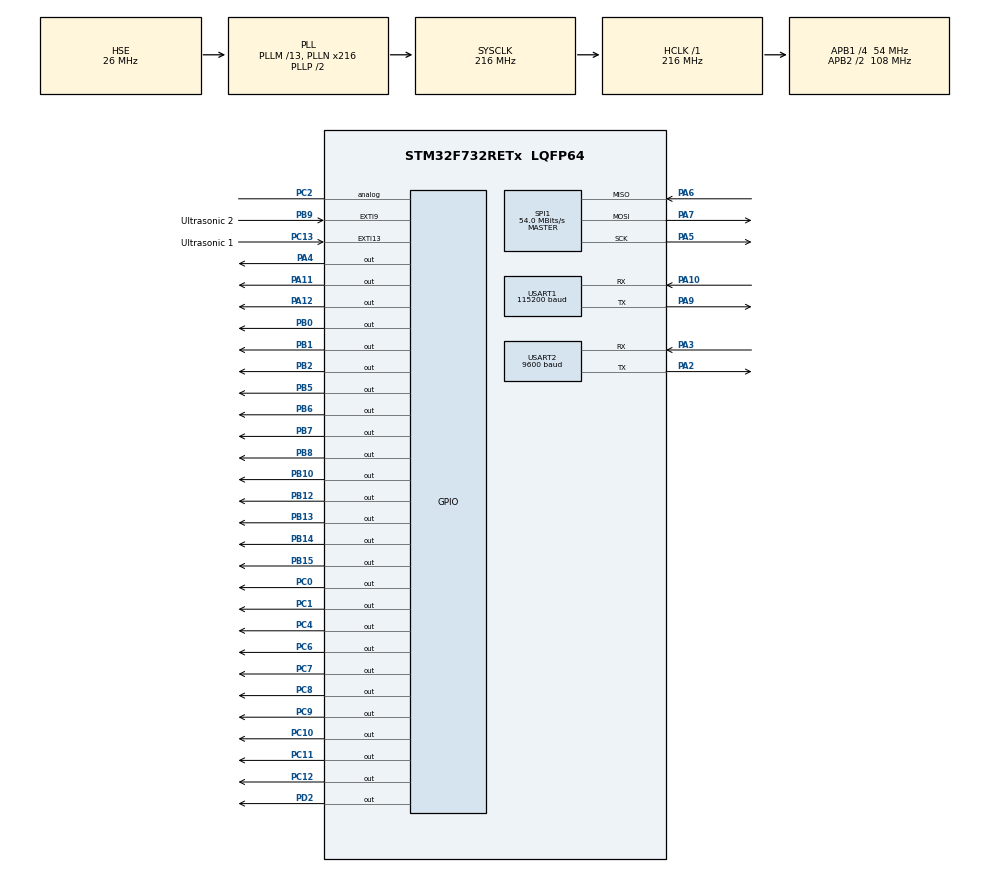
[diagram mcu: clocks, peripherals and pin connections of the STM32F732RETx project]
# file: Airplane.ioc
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Dma.Request0=USART1_RX
Dma.Request1=USART2_RX
Dma.USART1_RX.0.Direction=DMA_PERIPH_TO_MEMORY
Dma.USART1_RX.0.FIFOMode=DMA_FIFOMODE_DISABLE
Dma.USART1_RX.0.Instance=DMA2_Stream2
Dma.USART1_RX.0.MemDataAlignment=DMA_MDATAALIGN_BYTE
Dma.USART1_RX.0.MemInc=DMA_MINC_ENABLE
Dma.USART1_RX.0.Mode=DMA_CIRCULAR
Dma.USART1_RX.0.PeriphDataAlignment=DMA_PDATAALIGN_BYTE
Dma.USART1_RX.0.PeriphInc=DMA_PINC_DISABLE
Dma.USART1_RX.0.Priority=DMA_PRIORITY_LOW
Dma.USART2_RX.1.Direction=DMA_PERIPH_TO_MEMORY
Dma.USART2_RX.1.FIFOMode=DMA_FIFOMODE_DISABLE
Dma.USART2_RX.1.Instance=DMA1_Stream5
Dma.USART2_RX.1.MemDataAlignment=DMA_MDATAALIGN_BYTE
Dma.USART2_RX.1.MemInc=DMA_MINC_ENABLE
Dma.USART2_RX.1.Mode=DMA_CIRCULAR
Dma.USART2_RX.1.PeriphDataAlignment=DMA_PDATAALIGN_BYTE
Dma.USART2_RX.1.PeriphInc=DMA_PINC_DISABLE
Dma.USART2_RX.1.Priority=DMA_PRIORITY_LOW
Mcu.Family=STM32F7
Mcu.Name=STM32F732RETx
Mcu.Package=LQFP64
NVIC.DMA1_Stream5_IRQn=true\:0\:0\:false\:false\:true\:false\:true
NVIC.DMA2_Stream2_IRQn=true\:0\:0\:false\:false\:true\:false\:true
NVIC.EXTI15_10_IRQn=true\:0\:0\:false\:false\:true\:true\:true
NVIC.EXTI9_5_IRQn=true\:0\:0\:false\:false\:true\:true\:true
NVIC.PriorityGroup=NVIC_PRIORITYGROUP_4
NVIC.TIM2_IRQn=true\:0\:0\:false\:false\:true\:true\:true
NVIC.USART1_IRQn=true\:0\:0\:false\:false\:true\:true\:true
NVIC.USART2_IRQn=true\:0\:0\:false\:false\:true\:true\:true
PA10.Mode=Asynchronous
PA10.Signal=USART1_RX
PA11.Signal=GPIO_Output
PA12.Signal=GPIO_Output
PA13.Mode=JTAG_5_pins
PA13.Signal=SYS_JTMS-SWDIO
PA14.Mode=JTAG_5_pins
PA14.Signal=SYS_JTCK-SWCLK
PA15.Mode=JTAG_5_pins
PA15.Signal=SYS_JTDI
PA2.Mode=Asynchronous
PA2.Signal=USART2_TX
PA3.Mode=Asynchronous
PA3.Signal=USART2_RX
PA4.Signal=GPIO_Output
PA5.Mode=Full_Duplex_Master
PA5.Signal=SPI1_SCK
PA6.Mode=Full_Duplex_Master
PA6.Signal=SPI1_MISO
PA7.Mode=Full_Duplex_Master
PA7.Signal=SPI1_MOSI
PA9.Mode=Asynchronous
PA9.Signal=USART1_TX
PB0.Signal=GPIO_Output
PB1.Signal=GPIO_Output
PB10.Signal=GPIO_Output
PB12.Signal=GPIO_Output
PB13.Signal=GPIO_Output
PB14.Signal=GPIO_Output
PB15.Signal=GPIO_Output
PB2.Signal=GPIO_Output
PB3.Mode=JTAG_5_pins
PB3.Signal=SYS_JTDO-SWO
PB4.Mode=JTAG_5_pins
PB4.Signal=SYS_JTRST
PB5.Signal=GPIO_Output
PB6.Signal=GPIO_Output
PB7.Signal=GPIO_Output
PB8.Signal=GPIO_Output
PB9.GPIO_Label=Ultrasonic 2
PB9.GPIO_ModeDefaultEXTI=GPIO_MODE_IT_RISING_FALLING
PB9.GPIO_PuPd=GPIO_NOPULL
PB9.Signal=GPXTI9
PC0.Signal=GPIO_Output
PC1.Signal=GPIO_Output
PC10.Signal=GPIO_Output
PC11.Signal=GPIO_Output
PC12.Signal=GPIO_Output
PC13.GPIO_Label=Ultrasonic 1
PC13.GPIO_ModeDefaultEXTI=GPIO_MODE_IT_RISING_FALLING
PC13.Signal=GPXTI13
PC2.Signal=GPIO_Analog
PC4.Signal=GPIO_Output
PC6.Signal=GPIO_Output
PC7.Signal=GPIO_Output
PC8.Signal=GPIO_Output
PC9.Signal=GPIO_Output
PD2.Signal=GPIO_Output
PH0-OSC_IN.Mode=HSE-External-Oscillator
PH0-OSC_IN.Signal=RCC_OSC_IN
PH1-OSC_OUT.Mode=HSE-External-Oscillator
PH1-OSC_OUT.Signal=RCC_OSC_OUT
ProjectManager.HeapSize=0x200
ProjectManager.StackSize=0x400
ProjectManager.TargetToolchain=STM32CubeIDE
RCC.AHBFreq_Value=216000000
RCC.APB1CLKDivider=RCC_HCLK_DIV4
RCC.APB1Freq_Value=54000000
RCC.APB1TimFreq_Value=108000000
RCC.APB2CLKDivider=RCC_HCLK_DIV2
RCC.APB2Freq_Value=108000000
RCC.APB2TimFreq_Value=216000000
RCC.CortexFreq_Value=216000000
RCC.HCLKFreq_Value=216000000
RCC.HSE_VALUE=26000000
RCC.HSI_VALUE=16000000
RCC.LSE_VALUE=32768
RCC.PLLM=13
RCC.PLLN=216
RCC.PLLSourceVirtual=RCC_PLLSOURCE_HSE
RCC.SYSCLKFreq_VALUE=216000000
RCC.SYSCLKSource=RCC_SYSCLKSOURCE_PLLCLK
RCC.USBFreq_Value=216000000
RCC.VCOOutputFreq_Value=432000000
SPI1.CalculateBaudRate=54.0 MBits/s
SPI1.Direction=SPI_DIRECTION_2LINES
SPI1.Mode=SPI_MODE_MASTER
SPI1.VirtualType=VM_MASTER
TIM2.Prescaler=108
USART1.BaudRate=115200
USART1.VirtualMode-Asynchronous=VM_ASYNC
USART1.VirtualMode-Synchronous=VM_SYNC
USART2.BaudRate=9600
USART2.VirtualMode-Asynchronous=VM_ASYNC
VP_TIM2_VS_ClockSourceINT.Mode=Internal
VP_TIM9_VS_ClockSourceINT.Mode=Internal
board=custom

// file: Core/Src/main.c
/* USER CODE BEGIN Header */
/**
  ******************************************************************************
  * @file           : main.c
  * @brief          : Main program body
  ******************************************************************************
  * @attention
  *
  * <h2><center>&copy; Copyright (c) 2020 STMicroelectronics.
  * All rights reserved.</center></h2>
  *
  * This software component is licensed by ST under BSD 3-Clause license,
  * the "License"; You may not use this file except in compliance with the
  * License. You may obtain a copy of the License at:
  *                        opensource.org/licenses/BSD-3-Clause
  *
  ******************************************************************************
  */
/* USER CODE END Header */
#include "main.h"
#include "dma.h"
#include "spi.h"
#include "tim.h"
#include "usart.h"
#include "gpio.h"

/* USER CODE BEGIN Includes */
#include <stdio.h>
#include <math.h>
/* USER CODE END Includes */

/* USER CODE BEGIN PTD */
#define LED_G 6
#define LED_R 7
/* USER CODE END PTD */

/* USER CODE BEGIN PD */
typedef struct{
  long port;
  uint16_t pin;
  uint32_t minPulse_ut, maxPulse_ut, period_ut;
  uint32_t pulseBegin_ut;
  _Bool high;
} pwm_pin;

typedef struct{
  pwm_pin trigger;
  int32_t timeBegin;
  _Bool on;
  double distance_cm;
} ultrasonic_sensor;

//trigger sensor every 60 ms
ultrasonic_sensor sensor = {{GPIOC, GPIO_PIN_1, 0, 10, 60000}};
/* USER CODE END PD */

/* USER CODE BEGIN PV */

unsigned char dataReceivedUART[2] = {128, 128};

/* USER CODE END PV */

void SystemClock_Config(void);

int main(void)
{
  /* USER CODE BEGIN 1 */
  long lastTick_t;

  pwm_pin forward = {GPIOB, GPIO_PIN_7, 0, 1000, 1000};
  pwm_pin reverse = {GPIOB, GPIO_PIN_6, 0, 1000, 1000};
  pwm_pin steering = {GPIOC, GPIO_PIN_6, 1000, 2000, 6000};
  pwm_pin steering2 = {GPIOC, GPIO_PIN_7, 1000, 2000, 15000};

  double magAngle = 0.0;
  double targetAngle = 0.0;
  const double MAX_ANGLE_CHANGE_PER_SECOND = 60.0;
  const double MAX_STEERING_ANGLE = 90.0;

  const double MIN_SENSOR_DIST_CM = 20.0;
  /* USER CODE END 1 */

  /* MCU Configuration--------------------------------------------------------*/

  /* Reset of all peripherals, Initializes the Flash interface and the Systick. */
  HAL_Init();

  /* Configure the system clock */
  SystemClock_Config();

  /* Initialize all configured peripherals */
  MX_GPIO_Init();
  MX_DMA_Init();
  MX_TIM9_Init();
  MX_SPI1_Init();
  MX_USART1_UART_Init();
  MX_USART2_UART_Init();
  MX_TIM2_Init();
  /* USER CODE BEGIN 2 */
  HAL_Delay(1000);
  HAL_TIM_Base_Start_IT(&htim2);
  HAL_UART_Receive_DMA (&huart1, dataReceivedUART, 2);
  HAL_GPIO_WritePin(GPIOA, GPIO_PIN_12, 1);
  HAL_GPIO_WritePin(GPIOB, GPIO_PIN_8, 1);
  /* USER CODE END 2 */

  /* Infinite loop */
  /* USER CODE BEGIN WHILE */
  while (1)
  {
    //get elapsed time
    const double timeDelta = __HAL_TIM_GET_COUNTER(&htim2) - lastTick_t;
    lastTick_t = __HAL_TIM_GET_COUNTER(&htim2);

    //steering
    targetAngle += (dataReceivedUART[1]-128.0)/128.0*timeDelta*MAX_ANGLE_CHANGE_PER_SECOND/1000000.0;

    //keep target angle between 0 and 360 degrees (inclusive)
    if(targetAngle > 360.0)
      targetAngle = 0.0;
    else if(targetAngle < 0.0)
      targetAngle = 360.0;

    //get angle to target and closest direction to it
    _Bool right = 0;
    double angleDiff = fabs(targetAngle - magAngle);
    if(angleDiff > 180.0){
      angleDiff = 360.0 - angleDiff;
      right = 1;
    }

    //transition steering smoothly toward target angle
    const double dutyCycleOffset = fmin(angleDiff/MAX_STEERING_ANGLE/2.0, 0.5);
    PWM(&steering, right ? 0.5 + dutyCycleOffset : 0.5 - dutyCycleOffset);

    //pulse ultrasonic sensor
    PWM_Full_Duty(&sensor.trigger);

    //motor control
    unsigned char speed = dataReceivedUART[0];

    //reverse if closer than min dist
    // if(sensor.distance_cm <= MIN_SENSOR_DIST_CM)
    //   speed = 1;

    if(speed > 128.0){
      //forward
      HAL_GPIO_WritePin(reverse.port, reverse.pin, 0);
      PWM(&forward, (speed-128.0)/128.0);

    }else if(speed < 128.0){
      //reverse
      HAL_GPIO_WritePin(forward.port, forward.pin, 0);
      PWM(&reverse, 1.0 - speed/128.0);

    }else{
      //stationary
      HAL_GPIO_WritePin(reverse.port, reverse.pin, 0);
      HAL_GPIO_WritePin(forward.port, forward.pin, 0);
    }
  }
}
    /* USER CODE END WHILE */

void SystemClock_Config(void)
{
  RCC_OscInitTypeDef RCC_OscInitStruct = {0};
  RCC_ClkInitTypeDef RCC_ClkInitStruct = {0};
  RCC_PeriphCLKInitTypeDef PeriphClkInitStruct = {0};

  /** Configure the main internal regulator output voltage
  */
  __HAL_RCC_PWR_CLK_ENABLE();
  __HAL_PWR_VOLTAGESCALING_CONFIG(PWR_REGULATOR_VOLTAGE_SCALE1);
  /** Initializes the RCC Oscillators according to the specified parameters
  * in the RCC_OscInitTypeDef structure.
  */
  RCC_OscInitStruct.OscillatorType = RCC_OSCILLATORTYPE_HSE;
  RCC_OscInitStruct.HSEState = RCC_HSE_ON;
  RCC_OscInitStruct.PLL.PLLState = RCC_PLL_ON;
  RCC_OscInitStruct.PLL.PLLSource = RCC_PLLSOURCE_HSE;
  RCC_OscInitStruct.PLL.PLLM = 13;
  RCC_OscInitStruct.PLL.PLLN = 216;
  RCC_OscInitStruct.PLL.PLLP = RCC_PLLP_DIV2;
  RCC_OscInitStruct.PLL.PLLQ = 2;
  if (HAL_RCC_OscConfig(&RCC_OscInitStruct) != HAL_OK)
  {
    Error_Handler();
  }
  /** Activate the Over-Drive mode
  */
  if (HAL_PWREx_EnableOverDrive() != HAL_OK)
  {
    Error_Handler();
  }
  /** Initializes the CPU, AHB and APB buses clocks
  */
  RCC_ClkInitStruct.ClockType = RCC_CLOCKTYPE_HCLK|RCC_CLOCKTYPE_SYSCLK
                              |RCC_CLOCKTYPE_PCLK1|RCC_CLOCKTYPE_PCLK2;
  RCC_ClkInitStruct.SYSCLKSource = RCC_SYSCLKSOURCE_PLLCLK;
  RCC_ClkInitStruct.AHBCLKDivider = RCC_SYSCLK_DIV1;
  RCC_ClkInitStruct.APB1CLKDivider = RCC_HCLK_DIV4;
  RCC_ClkInitStruct.APB2CLKDivider = RCC_HCLK_DIV2;

  if (HAL_RCC_ClockConfig(&RCC_ClkInitStruct, FLASH_LATENCY_7) != HAL_OK)
  {
    Error_Handler();
  }
  PeriphClkInitStruct.PeriphClockSelection = RCC_PERIPHCLK_USART1|RCC_PERIPHCLK_USART2;
  PeriphClkInitStruct.Usart1ClockSelection = RCC_USART1CLKSOURCE_PCLK2;
  PeriphClkInitStruct.Usart2ClockSelection = RCC_USART2CLKSOURCE_PCLK1;
  if (HAL_RCCEx_PeriphCLKConfig(&PeriphClkInitStruct) != HAL_OK)
  {
    Error_Handler();
  }
}

/* USER CODE BEGIN 4 */
void PWM_Full_Duty(pwm_pin *pin){
  PWM(&pin, 1.0);
}

void PWM(pwm_pin *pin, double dutyCycle){
  if(!(pin->minPulse_ut < pin->maxPulse_ut && pin->maxPulse_ut <= pin->period_ut) || dutyCycle < 0.0 || dutyCycle > 1.0){
    HAL_GPIO_WritePin(pin->port, pin->pin, 0);
    return;
  }

  if(!pin->high && __HAL_TIM_GET_COUNTER(&htim2) - pin->pulseBegin_ut > pin->period_ut){
    pin->high = 1;
    HAL_GPIO_WritePin(pin->port, pin->pin, 1);
    pin->pulseBegin_ut = __HAL_TIM_GET_COUNTER(&htim2);
  }

  if(pin->high){
    double high_ut = pin->minPulse_ut + (pin->maxPulse_ut - pin->minPulse_ut) * dutyCycle;
    if(__HAL_TIM_GET_COUNTER(&htim2) - pin->pulseBegin_ut > high_ut){
      pin->high = 0;
      HAL_GPIO_WritePin(pin->port, pin->pin, 0);
    }
  }
}

void HAL_TIM_PeriodElapsedCallback(TIM_HandleTypeDef *htim)
{
  //when timer overflow occurs ~ 40 days
}

void HAL_UART_RxCpltCallback(UART_HandleTypeDef *huart)
{

    HAL_UART_Receive_DMA(&huart1, dataReceivedUART, 2);
   // HAL_UART_Transmit(&huart1, dataReceivedUART, 2, 1);

}

void HAL_GPIO_EXTI_Callback(uint16_t GPIO_Pin)
{
  switch (GPIO_Pin){
    case Ultrasonic_1_Pin:
      if (!sensor.on)
      {
        sensor.timeBegin = __HAL_TIM_GET_COUNTER(&htim2);
        sensor.on = 1;
        break;
      }
      else
      {
          sensor.on = 0;
          sensor.distance_cm = (__HAL_TIM_GET_COUNTER(&htim2) - sensor.timeBegin)/58.0;
      }

      break;
  }
}
/* USER CODE END 4 */

void Error_Handler(void)
{
}

/************************ (C) COPYRIGHT STMicroelectronics *****END OF FILE****/
